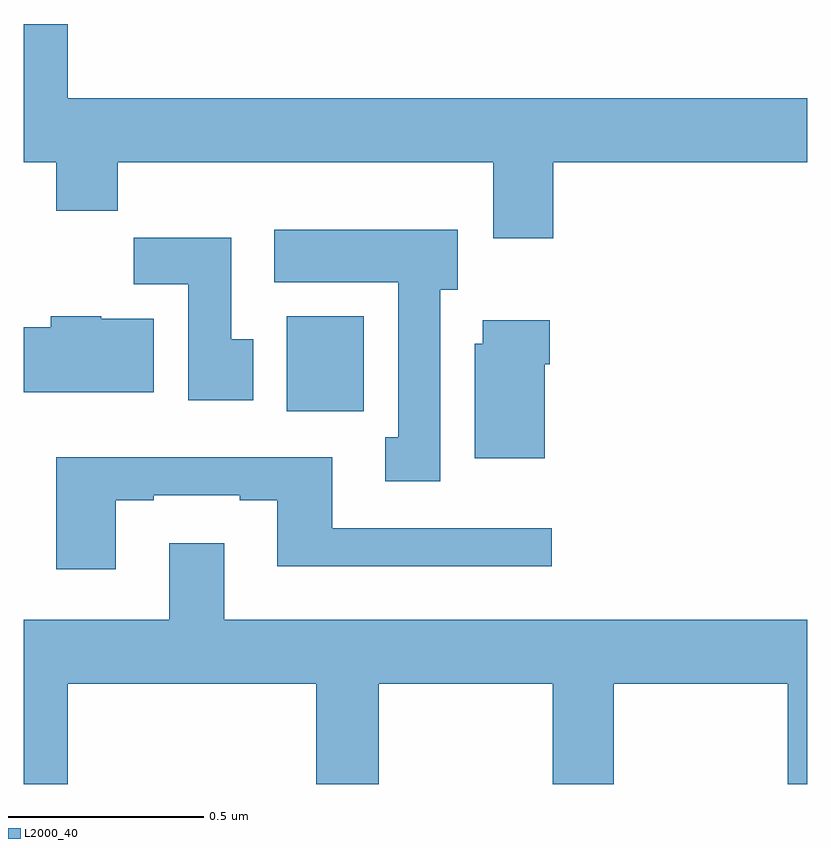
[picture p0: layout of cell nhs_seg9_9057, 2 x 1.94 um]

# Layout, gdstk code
import gdstk
lib = gdstk.Library(unit=1e-6, precision=1e-09)
def R(c, l, rs):  # rectangles x0, y0, x1, y1
    for r in rs: c.add(gdstk.rectangle(r[:2], r[2:], *l))
def P(c, l, *ps):  # polygons
    for p in ps: c.add(gdstk.Polygon(p, *l))
L2000_40 = (2000, 40)

nhs_seg9_9057 = lib.new_cell('nhs_seg9_9057')
R(nhs_seg9_9057, L2000_40, [(225.671,1194.452,225.868,1194.694)])
P(nhs_seg9_9057, L2000_40, [(226.352,1195.088),(227,1195.088),(227,1195.252),(225.112,1195.252),(225.112,1195.441),(225,1195.441),(225,1195.088),(225.083,1195.088),(225.083,1194.964),(225.239,1194.964),(225.239,1195.088),(226.199,1195.088),(226.199,1194.894),(226.352,1194.894)],
  [(226.063,1194.762),(226.108,1194.762),(226.108,1194.916),(225.639,1194.916),(225.639,1194.782),(225.956,1194.782),(225.956,1194.386),(225.923,1194.386),(225.923,1194.273),(226.063,1194.273)],
  [(225.586,1194.636),(225.529,1194.636),(225.529,1194.895),(225.28,1194.895),(225.28,1194.776),(225.419,1194.776),(225.419,1194.48),(225.586,1194.48)],
  [(225.331,1194.688),(225.198,1194.688),(225.198,1194.694),(225.068,1194.694),(225.068,1194.666),(225,1194.666),(225,1194.5),(225.331,1194.5)],
  [(226.33,1194.572),(226.343,1194.572),(226.343,1194.685),(226.172,1194.685),(226.172,1194.624),(226.151,1194.624),(226.151,1194.332),(226.33,1194.332)],
  [(225.235,1194.225),(225.331,1194.225),(225.331,1194.237),(225.551,1194.237),(225.551,1194.225),(225.647,1194.225),(225.647,1194.056),(226.348,1194.056),(226.348,1194.153),(225.787,1194.153),(225.787,1194.334),(225.083,1194.334),(225.083,1194.048),(225.235,1194.048)],
  [(225.112,1193.756),(225.746,1193.756),(225.746,1193.5),(225.906,1193.5),(225.906,1193.756),(226.351,1193.756),(226.351,1193.5),(226.506,1193.5),(226.506,1193.756),(226.951,1193.756),(226.951,1193.5),(227,1193.5),(227,1193.92),(225.511,1193.92),(225.511,1194.115),(225.371,1194.115),(225.371,1193.92),(225,1193.92),(225,1193.5),(225.112,1193.5)])

lib.write_gds('nhs_seg9_9057.gds')
